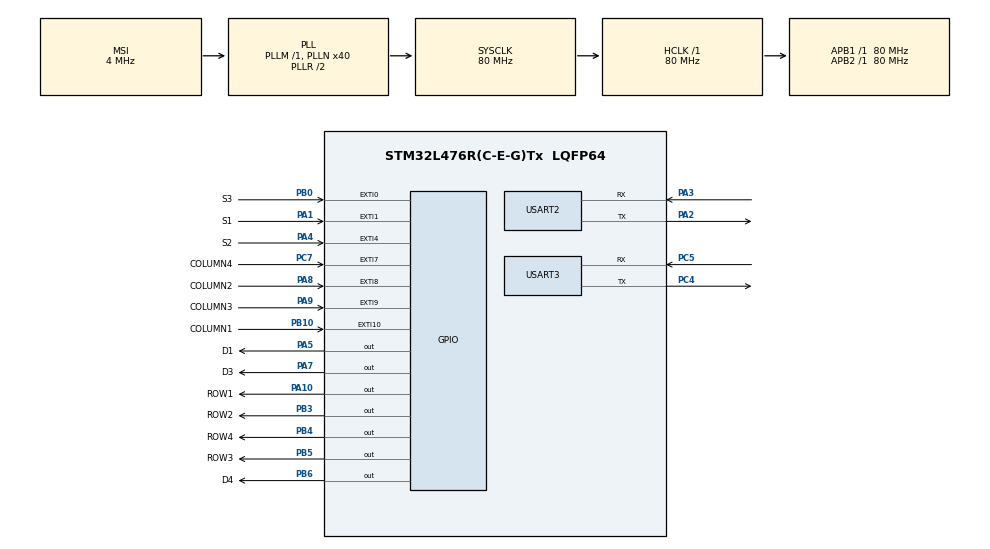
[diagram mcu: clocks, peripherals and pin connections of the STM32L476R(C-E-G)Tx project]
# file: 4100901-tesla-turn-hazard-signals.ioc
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Mcu.Family=STM32L4
Mcu.Name=STM32L476R(C-E-G)Tx
Mcu.Package=LQFP64
NVIC.EXTI0_IRQn=true\:0\:0\:false\:false\:true\:true\:true\:true
NVIC.EXTI15_10_IRQn=true\:0\:0\:false\:false\:true\:true\:true\:true
NVIC.EXTI1_IRQn=true\:0\:0\:false\:false\:true\:true\:true\:true
NVIC.EXTI4_IRQn=true\:0\:0\:false\:false\:true\:true\:true\:true
NVIC.EXTI9_5_IRQn=true\:0\:0\:false\:false\:true\:true\:true\:true
NVIC.PriorityGroup=NVIC_PRIORITYGROUP_4
NVIC.USART2_IRQn=true\:0\:0\:false\:false\:true\:true\:true\:true
NVIC.USART3_IRQn=true\:0\:0\:false\:false\:true\:true\:true\:true
PA1.GPIO_Label=S1
PA1.GPIO_ModeDefaultEXTI=GPIO_MODE_IT_FALLING
PA1.GPIO_PuPd=GPIO_PULLUP
PA1.Signal=GPXTI1
PA10.GPIO_Label=ROW1
PA10.PinState=GPIO_PIN_SET
PA10.Signal=GPIO_Output
PA2.Mode=Asynchronous
PA2.Signal=USART2_TX
PA3.Mode=Asynchronous
PA3.Signal=USART2_RX
PA4.GPIO_Label=S2
PA4.GPIO_ModeDefaultEXTI=GPIO_MODE_IT_FALLING
PA4.GPIO_PuPd=GPIO_PULLUP
PA4.Signal=GPXTI4
PA5.GPIO_Label=D1
PA5.PinState=GPIO_PIN_SET
PA5.Signal=GPIO_Output
PA7.GPIO_Label=D3
PA7.PinState=GPIO_PIN_SET
PA7.Signal=GPIO_Output
PA8.GPIO_Label=COLUMN2
PA8.GPIO_PuPd=GPIO_PULLDOWN
PA8.Signal=GPXTI8
PA9.GPIO_Label=COLUMN3
PA9.GPIO_PuPd=GPIO_PULLDOWN
PA9.Signal=GPXTI9
PB0.GPIO_Label=S3
PB0.Signal=GPXTI0
PB10.GPIO_Label=COLUMN1
PB10.GPIO_PuPd=GPIO_PULLDOWN
PB10.Signal=GPXTI10
PB3\ (JTDO-TRACESWO).GPIO_Label=ROW2
PB3\ (JTDO-TRACESWO).PinState=GPIO_PIN_SET
PB3\ (JTDO-TRACESWO).Signal=GPIO_Output
PB4\ (NJTRST).GPIO_Label=ROW4
PB4\ (NJTRST).PinState=GPIO_PIN_SET
PB4\ (NJTRST).Signal=GPIO_Output
PB5.GPIO_Label=ROW3
PB5.PinState=GPIO_PIN_SET
PB5.Signal=GPIO_Output
PB6.GPIO_Label=D4
PB6.PinState=GPIO_PIN_SET
PB6.Signal=GPIO_Output
PC4.Mode=Asynchronous
PC4.Signal=USART3_TX
PC5.Mode=Asynchronous
PC5.Signal=USART3_RX
PC7.GPIO_Label=COLUMN4
PC7.GPIO_PuPd=GPIO_PULLDOWN
PC7.Signal=GPXTI7
ProjectManager.HeapSize=0x200
ProjectManager.StackSize=0x400
ProjectManager.TargetToolchain=STM32CubeIDE
RCC.AHBFreq_Value=80000000
RCC.APB1Freq_Value=80000000
RCC.APB1TimFreq_Value=80000000
RCC.APB2Freq_Value=80000000
RCC.APB2TimFreq_Value=80000000
RCC.CortexFreq_Value=80000000
RCC.HCLKFreq_Value=80000000
RCC.HSE_VALUE=8000000
RCC.HSI_VALUE=16000000
RCC.LSE_VALUE=32768
RCC.MSI_VALUE=4000000
RCC.PLLN=40
RCC.SYSCLKFreq_VALUE=80000000
RCC.SYSCLKSource=RCC_SYSCLKSOURCE_PLLCLK
RCC.VCOOutputFreq_Value=160000000
USART2.VirtualMode-Asynchronous=VM_ASYNC
USART3.VirtualMode-Asynchronous=VM_ASYNC
board=custom

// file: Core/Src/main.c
/* USER CODE BEGIN Header */
/**
  ******************************************************************************
  * @file           : main.c
  * @brief          : Main program body
  ******************************************************************************
  * @attention
  *
  * Copyright (c) 2024 STMicroelectronics.
  * All rights reserved.
  *
  * This software is licensed under terms that can be found in the LICENSE file
  * in the root directory of this software component.
  * If no LICENSE file comes with this software, it is provided AS-IS.
  *
  ******************************************************************************
  */
/* USER CODE END Header */
#include "main.h"

/* USER CODE BEGIN Includes */
#include "ring_buffer.h"
/* USER CODE END Includes */

UART_HandleTypeDef huart2;
UART_HandleTypeDef huart3;

/* USER CODE BEGIN PV */
uint32_t left_toggles = 0;
uint32_t right_toggles = 0;
uint32_t left_last_press_tick = 0;
uint32_t right_last_press_tick = 0;

uint8_t data_usart3;
uint8_t data_usart2;

/* control variables for ring buffer in USART3 */
#define CAPACITY_USART3 5
uint8_t mem_usart3[CAPACITY_USART3];
ring_buffer_t rb_usart3;

/* control variables for ring buffer in USART2 */
#define CAPACITY_USART2 10
uint8_t mem_usart2[CAPACITY_USART2];
ring_buffer_t rb_usart2;
/* USER CODE END PV */

void SystemClock_Config(void);
static void MX_GPIO_Init(void);
static void MX_USART2_UART_Init(void);
static void MX_USART3_UART_Init(void);
/* USER CODE BEGIN PFP */
void heartbeat(void);
/* USER CODE END PFP */

/* USER CODE BEGIN 0 */
void HAL_UART_RxCpltCallback(UART_HandleTypeDef *huart)
{
  /* Data received in USART3 */
  if (huart->Instance == USART3) {
	  ring_buffer_write(&rb_usart3, data_usart3);
	  HAL_UART_Receive_IT(&huart3, &data_usart3, 1);
  }
  /* Data received in USART2 */
  if (huart->Instance == USART2) {
	  ring_buffer_write(&rb_usart2, data_usart2); // put the data received in buffer
	  HAL_UART_Receive_IT(&huart2, &data_usart2, 1); // enable interrupt to continue receiving
  }
}

void HAL_GPIO_EXTI_Callback(uint16_t GPIO_Pin)
{
    static uint16_t last_pressed = 0xFFFF;
    static uint32_t last_tick = 0;

    // Debouncing
    if (last_pressed == GPIO_Pin) {
        if (HAL_GetTick() < (last_tick + 200)) {
            return;
        }
    }
    last_pressed = GPIO_Pin;
    last_tick = HAL_GetTick();

    // Control del botón izquierdo (S1)
    if (GPIO_Pin == S1_Pin) {
        HAL_UART_Transmit(&huart2, (uint8_t *)"S1\r\n", 4, 10);
        if (HAL_GetTick() < (left_last_press_tick + 300)) {
            left_toggles = 0xFFFFFF;  // Presión larga
        } else {
            left_toggles = 6;  // Presión corta
        }
        left_last_press_tick = HAL_GetTick();
    } else if (GPIO_Pin == S2_Pin || GPIO_Pin == S3_Pin) {
        left_toggles = 0;  // Detener la señal izquierda si S2 es presionado
    }

    // Control del botón derecho (S2)
    if (GPIO_Pin == S2_Pin) {
        HAL_UART_Transmit(&huart2, (uint8_t *)"S2\r\n", 4, 10);
        if (HAL_GetTick() < (right_last_press_tick + 300)) {
            right_toggles = 0xFFFFFF;
        } else {
            right_toggles = 6;
        }
        right_last_press_tick = HAL_GetTick();
    } else if (GPIO_Pin == S1_Pin) {
        right_toggles = 0;  // Solo detener la señal si es S1 (no S3)
    }

    if (GPIO_Pin == S3_Pin) {
        HAL_UART_Transmit(&huart2, (uint8_t *)"S3\r\n", 4, 10);
        if (HAL_GetTick() < (right_last_press_tick + 300)) {
            right_toggles = 0xFFFFFF;
            left_toggles = 0xFFFFFF;
        } else {
            right_toggles = 6;
            left_toggles = 6;
        }
        left_last_press_tick = HAL_GetTick();
        right_last_press_tick = HAL_GetTick();
    }

    }

void heartbeat(void)
{
	static uint32_t heartbeat_tick = 0;
	if (heartbeat_tick < HAL_GetTick()) {
		heartbeat_tick = HAL_GetTick() + 500;
		HAL_GPIO_TogglePin(D1_GPIO_Port, D1_Pin);
	}
}

void turn_signal_left(void)
{
	static uint32_t turn_toggle_tick = 0;
	if (turn_toggle_tick < HAL_GetTick()) {
		if (left_toggles > 0) {
			turn_toggle_tick = HAL_GetTick() + 500;
			HAL_GPIO_TogglePin(D3_GPIO_Port, D3_Pin);
			left_toggles--;
		} else {
			HAL_GPIO_WritePin(D3_GPIO_Port, D3_Pin, 1);
		}

	}
}
void turn_signal_right(void)
{
	static uint32_t turn_toggle_tick = 0;
	if (turn_toggle_tick < HAL_GetTick()) {
		if (right_toggles > 0) {
			turn_toggle_tick = HAL_GetTick() + 500;
			HAL_GPIO_TogglePin(D4_GPIO_Port, D4_Pin);
			right_toggles--;
		} else {
			HAL_GPIO_WritePin(D4_GPIO_Port, D4_Pin, 1);
		}

	}
}
/* USER CODE END 0 */

int main(void)
{

  /* MCU Configuration--------------------------------------------------------*/

  /* Reset of all peripherals, Initializes the Flash interface and the Systick. */
  HAL_Init();

  /* Configure the system clock */
  SystemClock_Config();

  /* Initialize all configured peripherals */
  MX_GPIO_Init();
  MX_USART2_UART_Init();
  MX_USART3_UART_Init();
  /* USER CODE BEGIN 2 */
  /* Initialize ring buffer (control, memory, and capacity) */
  ring_buffer_init(&rb_usart3, mem_usart3, CAPACITY_USART3);
  ring_buffer_init(&rb_usart2, mem_usart2, CAPACITY_USART2);
  /* USER CODE END 2 */

  /* Infinite loop */
  /* USER CODE BEGIN WHILE */
  /* Enable USART Rx interrupt to start receiving */
  HAL_UART_Receive_IT(&huart3, &data_usart3, 1);
  HAL_UART_Receive_IT(&huart2, &data_usart2, 1);
  while (1)
  {
	  uint8_t byte = 0;
	  if (ring_buffer_is_full(&rb_usart2) != 0) {
		  int8_t id_incorrect = 0;
		  char my_id[] = "1053821948";
		  for (uint8_t idx = 0; idx < sizeof(my_id); idx++) {
			  if (ring_buffer_read(&rb_usart2, &byte) != 0) { // 0x20
				  if (byte != my_id[idx]) {
					  id_incorrect = 1;
				  }
			  }
		  }
		  if (id_incorrect == 0) {
			  HAL_UART_Transmit(&huart2, "Sam C\r\n", 7, 10);
		  } else {
			  HAL_UART_Transmit(&huart2, "Error\r\n", 7, 10);
		  }
	  }
	  if (ring_buffer_is_empty(&rb_usart3) == 0) {
		  uint8_t data;
		  ring_buffer_read(&rb_usart3, &data);
		  HAL_UART_Transmit(&huart2, &data, 1, 10);
	  }
	  heartbeat();
	  turn_signal_left();
	  turn_signal_right();
    /* USER CODE END WHILE */

  }
}

void SystemClock_Config(void)
{
  RCC_OscInitTypeDef RCC_OscInitStruct = {0};
  RCC_ClkInitTypeDef RCC_ClkInitStruct = {0};

  /** Configure the main internal regulator output voltage
  */
  if (HAL_PWREx_ControlVoltageScaling(PWR_REGULATOR_VOLTAGE_SCALE1) != HAL_OK)
  {
    Error_Handler();
  }

  /** Initializes the RCC Oscillators according to the specified parameters
  * in the RCC_OscInitTypeDef structure.
  */
  RCC_OscInitStruct.OscillatorType = RCC_OSCILLATORTYPE_MSI;
  RCC_OscInitStruct.MSIState = RCC_MSI_ON;
  RCC_OscInitStruct.MSICalibrationValue = 0;
  RCC_OscInitStruct.MSIClockRange = RCC_MSIRANGE_6;
  RCC_OscInitStruct.PLL.PLLState = RCC_PLL_ON;
  RCC_OscInitStruct.PLL.PLLSource = RCC_PLLSOURCE_MSI;
  RCC_OscInitStruct.PLL.PLLM = 1;
  RCC_OscInitStruct.PLL.PLLN = 40;
  RCC_OscInitStruct.PLL.PLLP = RCC_PLLP_DIV7;
  RCC_OscInitStruct.PLL.PLLQ = RCC_PLLQ_DIV2;
  RCC_OscInitStruct.PLL.PLLR = RCC_PLLR_DIV2;
  if (HAL_RCC_OscConfig(&RCC_OscInitStruct) != HAL_OK)
  {
    Error_Handler();
  }

  /** Initializes the CPU, AHB and APB buses clocks
  */
  RCC_ClkInitStruct.ClockType = RCC_CLOCKTYPE_HCLK|RCC_CLOCKTYPE_SYSCLK
                              |RCC_CLOCKTYPE_PCLK1|RCC_CLOCKTYPE_PCLK2;
  RCC_ClkInitStruct.SYSCLKSource = RCC_SYSCLKSOURCE_PLLCLK;
  RCC_ClkInitStruct.AHBCLKDivider = RCC_SYSCLK_DIV1;
  RCC_ClkInitStruct.APB1CLKDivider = RCC_HCLK_DIV1;
  RCC_ClkInitStruct.APB2CLKDivider = RCC_HCLK_DIV1;

  if (HAL_RCC_ClockConfig(&RCC_ClkInitStruct, FLASH_LATENCY_4) != HAL_OK)
  {
    Error_Handler();
  }
}

static void MX_USART2_UART_Init(void)
{

  huart2.Instance = USART2;
  huart2.Init.BaudRate = 115200;
  huart2.Init.WordLength = UART_WORDLENGTH_8B;
  huart2.Init.StopBits = UART_STOPBITS_1;
  huart2.Init.Parity = UART_PARITY_NONE;
  huart2.Init.Mode = UART_MODE_TX_RX;
  huart2.Init.HwFlowCtl = UART_HWCONTROL_NONE;
  huart2.Init.OverSampling = UART_OVERSAMPLING_16;
  huart2.Init.OneBitSampling = UART_ONE_BIT_SAMPLE_DISABLE;
  huart2.AdvancedInit.AdvFeatureInit = UART_ADVFEATURE_NO_INIT;
  if (HAL_UART_Init(&huart2) != HAL_OK)
  {
    Error_Handler();
  }

}

static void MX_USART3_UART_Init(void)
{

  huart3.Instance = USART3;
  huart3.Init.BaudRate = 115200;
  huart3.Init.WordLength = UART_WORDLENGTH_8B;
  huart3.Init.StopBits = UART_STOPBITS_1;
  huart3.Init.Parity = UART_PARITY_NONE;
  huart3.Init.Mode = UART_MODE_TX_RX;
  huart3.Init.HwFlowCtl = UART_HWCONTROL_NONE;
  huart3.Init.OverSampling = UART_OVERSAMPLING_16;
  huart3.Init.OneBitSampling = UART_ONE_BIT_SAMPLE_DISABLE;
  huart3.AdvancedInit.AdvFeatureInit = UART_ADVFEATURE_NO_INIT;
  if (HAL_UART_Init(&huart3) != HAL_OK)
  {
    Error_Handler();
  }

}

static void MX_GPIO_Init(void)
{
  GPIO_InitTypeDef GPIO_InitStruct = {0};

  /* GPIO Ports Clock Enable */
  __HAL_RCC_GPIOA_CLK_ENABLE();
  __HAL_RCC_GPIOC_CLK_ENABLE();
  __HAL_RCC_GPIOB_CLK_ENABLE();

  /*Configure GPIO pin Output Level */
  HAL_GPIO_WritePin(GPIOA, D1_Pin|D3_Pin|ROW1_Pin, GPIO_PIN_SET);

  /*Configure GPIO pin Output Level */
  HAL_GPIO_WritePin(GPIOB, ROW2_Pin|ROW4_Pin|ROW3_Pin|D4_Pin, GPIO_PIN_SET);

  /*Configure GPIO pins : S1_Pin S2_Pin */
  GPIO_InitStruct.Pin = S1_Pin|S2_Pin;
  GPIO_InitStruct.Mode = GPIO_MODE_IT_FALLING;
  GPIO_InitStruct.Pull = GPIO_PULLUP;
  HAL_GPIO_Init(GPIOA, &GPIO_InitStruct);

  /*Configure GPIO pins : D1_Pin D3_Pin ROW1_Pin */
  GPIO_InitStruct.Pin = D1_Pin|D3_Pin|ROW1_Pin;
  GPIO_InitStruct.Mode = GPIO_MODE_OUTPUT_PP;
  GPIO_InitStruct.Pull = GPIO_NOPULL;
  GPIO_InitStruct.Speed = GPIO_SPEED_FREQ_LOW;
  HAL_GPIO_Init(GPIOA, &GPIO_InitStruct);

  /*Configure GPIO pin : S3_Pin */
  GPIO_InitStruct.Pin = S3_Pin;
  GPIO_InitStruct.Mode = GPIO_MODE_IT_RISING;
  GPIO_InitStruct.Pull = GPIO_NOPULL;
  HAL_GPIO_Init(S3_GPIO_Port, &GPIO_InitStruct);

  /*Configure GPIO pin : COLUMN1_Pin */
  GPIO_InitStruct.Pin = COLUMN1_Pin;
  GPIO_InitStruct.Mode = GPIO_MODE_IT_RISING;
  GPIO_InitStruct.Pull = GPIO_PULLDOWN;
  HAL_GPIO_Init(COLUMN1_GPIO_Port, &GPIO_InitStruct);

  /*Configure GPIO pin : COLUMN4_Pin */
  GPIO_InitStruct.Pin = COLUMN4_Pin;
  GPIO_InitStruct.Mode = GPIO_MODE_IT_RISING;
  GPIO_InitStruct.Pull = GPIO_PULLDOWN;
  HAL_GPIO_Init(COLUMN4_GPIO_Port, &GPIO_InitStruct);

  /*Configure GPIO pins : COLUMN2_Pin COLUMN3_Pin */
  GPIO_InitStruct.Pin = COLUMN2_Pin|COLUMN3_Pin;
  GPIO_InitStruct.Mode = GPIO_MODE_IT_RISING;
  GPIO_InitStruct.Pull = GPIO_PULLDOWN;
  HAL_GPIO_Init(GPIOA, &GPIO_InitStruct);

  /*Configure GPIO pins : ROW2_Pin ROW4_Pin ROW3_Pin D4_Pin */
  GPIO_InitStruct.Pin = ROW2_Pin|ROW4_Pin|ROW3_Pin|D4_Pin;
  GPIO_InitStruct.Mode = GPIO_MODE_OUTPUT_PP;
  GPIO_InitStruct.Pull = GPIO_NOPULL;
  GPIO_InitStruct.Speed = GPIO_SPEED_FREQ_LOW;
  HAL_GPIO_Init(GPIOB, &GPIO_InitStruct);

  /* EXTI interrupt init*/
  HAL_NVIC_SetPriority(EXTI0_IRQn, 0, 0);
  HAL_NVIC_EnableIRQ(EXTI0_IRQn);

  HAL_NVIC_SetPriority(EXTI1_IRQn, 0, 0);
  HAL_NVIC_EnableIRQ(EXTI1_IRQn);

  HAL_NVIC_SetPriority(EXTI4_IRQn, 0, 0);
  HAL_NVIC_EnableIRQ(EXTI4_IRQn);

  HAL_NVIC_SetPriority(EXTI9_5_IRQn, 0, 0);
  HAL_NVIC_EnableIRQ(EXTI9_5_IRQn);

  HAL_NVIC_SetPriority(EXTI15_10_IRQn, 0, 0);
  HAL_NVIC_EnableIRQ(EXTI15_10_IRQn);

}

void Error_Handler(void)
{
  __disable_irq();
  while (1)
  {
  }
}
